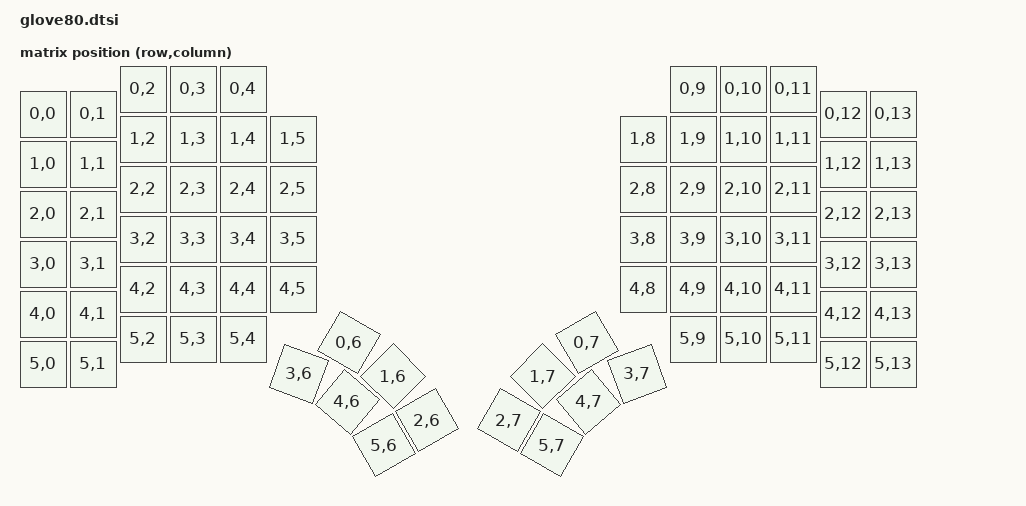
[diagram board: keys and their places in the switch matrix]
/*
 * Copyright (c) 2021 The ZMK Contributors
 * SPDX-License-Identifier: MIT
 */

/dts-v1/;
#include <nordic/nrf52840_qiaa.dtsi>

#include <dt-bindings/zmk/matrix_transform.h>

#include <physical_layouts.dtsi>

/ {
    chosen {
        zmk,kscan = &kscan0;
        zmk,physical-layout = &default_layout;
        zephyr,code-partition = &code_partition;
        zephyr,sram = &sram0;
        zephyr,flash = &flash0;
    };

    default_transform: keymap_transform_0 {
        compatible = "zmk,matrix-transform";
        columns = <14>;
        rows = <6>;
        map = <
            RC(0,0) RC(0,1) RC(0,2) RC(0,3) RC(0,4)                                                                    RC(0,9) RC(0,10) RC(0,11) RC(0,12) RC(0,13)
            RC(1,0) RC(1,1) RC(1,2) RC(1,3) RC(1,4) RC(1,5)                                                    RC(1,8) RC(1,9) RC(1,10) RC(1,11) RC(1,12) RC(1,13)
            RC(2,0) RC(2,1) RC(2,2) RC(2,3) RC(2,4) RC(2,5)                                                    RC(2,8) RC(2,9) RC(2,10) RC(2,11) RC(2,12) RC(2,13)
            RC(3,0) RC(3,1) RC(3,2) RC(3,3) RC(3,4) RC(3,5)                                                    RC(3,8) RC(3,9) RC(3,10) RC(3,11) RC(3,12) RC(3,13)
            RC(4,0) RC(4,1) RC(4,2) RC(4,3) RC(4,4) RC(4,5) RC(0,6) RC(1,6) RC(2,6)   RC(2,7) RC(1,7)  RC(0,7) RC(4,8) RC(4,9) RC(4,10) RC(4,11) RC(4,12) RC(4,13)
            RC(5,0) RC(5,1) RC(5,2) RC(5,3) RC(5,4)         RC(3,6) RC(4,6) RC(5,6)   RC(5,7) RC(4,7)  RC(3,7)         RC(5,9) RC(5,10) RC(5,11) RC(5,12) RC(5,13)
        >;
    };

    kscan0: kscan {
        compatible = "zmk,kscan-gpio-matrix";
        wakeup-source;

        diode-direction = "col2row";
        debounce-press-ms = <4>;
        debounce-release-ms = <20>;
    };

    default_layout: default_layout {
        compatible = "zmk,physical-layout";
        display-name = "Default";

        transform = <&default_transform>;

        keys  //                     w   h    x    y     rot    rx    ry
            = <&key_physical_attrs 100 100    0   50       0     0     0>
            , <&key_physical_attrs 100 100  100   50       0     0     0>
            , <&key_physical_attrs 100 100  200    0       0     0     0>
            , <&key_physical_attrs 100 100  300    0       0     0     0>
            , <&key_physical_attrs 100 100  400    0       0     0     0>
            , <&key_physical_attrs 100 100 1300    0       0     0     0>
            , <&key_physical_attrs 100 100 1400    0       0     0     0>
            , <&key_physical_attrs 100 100 1500    0       0     0     0>
            , <&key_physical_attrs 100 100 1600   50       0     0     0>
            , <&key_physical_attrs 100 100 1700   50       0     0     0>
            , <&key_physical_attrs 100 100    0  150       0     0     0>
            , <&key_physical_attrs 100 100  100  150       0     0     0>
            , <&key_physical_attrs 100 100  200  100       0     0     0>
            , <&key_physical_attrs 100 100  300  100       0     0     0>
            , <&key_physical_attrs 100 100  400  100       0     0     0>
            , <&key_physical_attrs 100 100  500  100       0     0     0>
            , <&key_physical_attrs 100 100 1200  100       0     0     0>
            , <&key_physical_attrs 100 100 1300  100       0     0     0>
            , <&key_physical_attrs 100 100 1400  100       0     0     0>
            , <&key_physical_attrs 100 100 1500  100       0     0     0>
            , <&key_physical_attrs 100 100 1600  150       0     0     0>
            , <&key_physical_attrs 100 100 1700  150       0     0     0>
            , <&key_physical_attrs 100 100    0  250       0     0     0>
            , <&key_physical_attrs 100 100  100  250       0     0     0>
            , <&key_physical_attrs 100 100  200  200       0     0     0>
            , <&key_physical_attrs 100 100  300  200       0     0     0>
            , <&key_physical_attrs 100 100  400  200       0     0     0>
            , <&key_physical_attrs 100 100  500  200       0     0     0>
            , <&key_physical_attrs 100 100 1200  200       0     0     0>
            , <&key_physical_attrs 100 100 1300  200       0     0     0>
            , <&key_physical_attrs 100 100 1400  200       0     0     0>
            , <&key_physical_attrs 100 100 1500  200       0     0     0>
            , <&key_physical_attrs 100 100 1600  250       0     0     0>
            , <&key_physical_attrs 100 100 1700  250       0     0     0>
            , <&key_physical_attrs 100 100    0  350       0     0     0>
            , <&key_physical_attrs 100 100  100  350       0     0     0>
            , <&key_physical_attrs 100 100  200  300       0     0     0>
            , <&key_physical_attrs 100 100  300  300       0     0     0>
            , <&key_physical_attrs 100 100  400  300       0     0     0>
            , <&key_physical_attrs 100 100  500  300       0     0     0>
            , <&key_physical_attrs 100 100 1200  300       0     0     0>
            , <&key_physical_attrs 100 100 1300  300       0     0     0>
            , <&key_physical_attrs 100 100 1400  300       0     0     0>
            , <&key_physical_attrs 100 100 1500  300       0     0     0>
            , <&key_physical_attrs 100 100 1600  350       0     0     0>
            , <&key_physical_attrs 100 100 1700  350       0     0     0>
            , <&key_physical_attrs 100 100    0  450       0     0     0>
            , <&key_physical_attrs 100 100  100  450       0     0     0>
            , <&key_physical_attrs 100 100  200  400       0     0     0>
            , <&key_physical_attrs 100 100  300  400       0     0     0>
            , <&key_physical_attrs 100 100  400  400       0     0     0>
            , <&key_physical_attrs 100 100  500  400       0     0     0>
            , <&key_physical_attrs 100 100  400  450    3000   450   925>
            , <&key_physical_attrs 100 100  400  450    4500   450   925>
            , <&key_physical_attrs 100 100  400  450    6000   450   925>
            , <&key_physical_attrs 100 100 1300  450 (-6000)  1350   925>
            , <&key_physical_attrs 100 100 1300  450 (-4500)  1350   925>
            , <&key_physical_attrs 100 100 1300  450 (-3000)  1350   925>
            , <&key_physical_attrs 100 100 1200  400       0     0     0>
            , <&key_physical_attrs 100 100 1300  400       0     0     0>
            , <&key_physical_attrs 100 100 1400  400       0     0     0>
            , <&key_physical_attrs 100 100 1500  400       0     0     0>
            , <&key_physical_attrs 100 100 1600  450       0     0     0>
            , <&key_physical_attrs 100 100 1700  450       0     0     0>
            , <&key_physical_attrs 100 100    0  550       0     0     0>
            , <&key_physical_attrs 100 100  100  550       0     0     0>
            , <&key_physical_attrs 100 100  200  500       0     0     0>
            , <&key_physical_attrs 100 100  300  500       0     0     0>
            , <&key_physical_attrs 100 100  400  500       0     0     0>
            , <&key_physical_attrs 100 100  400  550    2000   450   925>
            , <&key_physical_attrs 100 100  400  550    4000   450   925>
            , <&key_physical_attrs 100 100  400  550    6000   450   925>
            , <&key_physical_attrs 100 100 1300  550 (-6000)  1350   925>
            , <&key_physical_attrs 100 100 1300  550 (-4000)  1350   925>
            , <&key_physical_attrs 100 100 1300  550 (-2000)  1350   925>
            , <&key_physical_attrs 100 100 1300  500       0     0     0>
            , <&key_physical_attrs 100 100 1400  500       0     0     0>
            , <&key_physical_attrs 100 100 1500  500       0     0     0>
            , <&key_physical_attrs 100 100 1600  550       0     0     0>
            , <&key_physical_attrs 100 100 1700  550       0     0     0>
            ;
    };
};

&adc {
    status = "okay";
};

&gpiote {
    status = "okay";
};

&gpio0 {
    status = "okay";
};

&gpio1 {
    status = "okay";
};

zephyr_udc0: &usbd {
    status = "okay";
};

&flash0 {
    /*
     * For more information, see:
     * http://docs.zephyrproject.org/latest/devices/dts/flash_partitions.html
     */
    partitions {
        compatible = "fixed-partitions";
        #address-cells = <1>;
        #size-cells = <1>;

        sd_partition: partition@0 {
            reg = <0x00000000 0x00026000>;
        };
        code_partition: partition@26000 {
            reg = <0x00026000 0x000c6000>;
        };

        /*
         * The flash starting at 0x000ec000 and ending at
         * 0x000f3fff is reserved for use by the application.
         */

        /*
         * Storage partition will be used by FCB/LittleFS/NVS
         * if enabled.
         */
        storage_partition: partition@ec000 {
            reg = <0x000ec000 0x00008000>;
        };

        boot_partition: partition@f4000 {
            reg = <0x000f4000 0x0000c000>;
        };
    };
};
